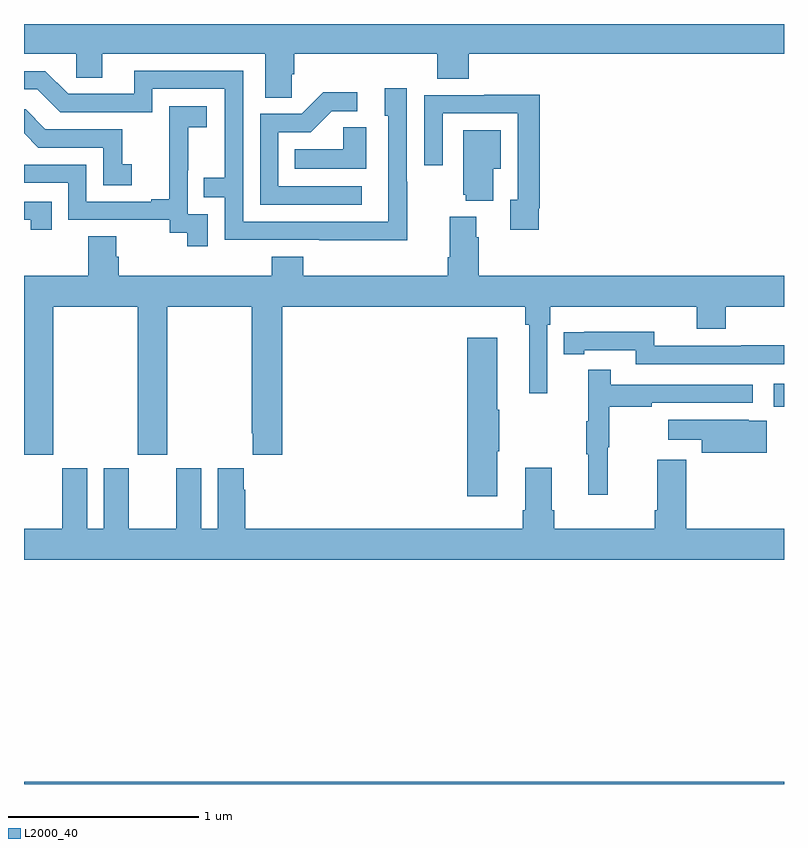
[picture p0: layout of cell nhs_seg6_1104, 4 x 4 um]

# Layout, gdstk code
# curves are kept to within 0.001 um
import gdstk
lib = gdstk.Library(unit=1e-6, precision=1e-09)
def R(c, l, rs):  # rectangles x0, y0, x1, y1
    for r in rs: c.add(gdstk.rectangle(r[:2], r[2:], *l))
def P(c, l, *ps):  # polygons
    for p in ps: c.add(gdstk.Polygon(p, *l))
L2000_40 = (2000, 40)

nhs_seg6_1104 = lib.new_cell('nhs_seg6_1104')
R(nhs_seg6_1104, L2000_40, [(179,935.5,183,935.512), (182.946,937.486,183,937.606)])
P(nhs_seg6_1104, L2000_40, [(180.408,939.235),(180.422,939.235),(180.422,939.344),(181.175,939.344),(181.175,939.211),(181.34,939.211),(181.34,939.344),(183,939.344),(183,939.5),(179,939.5),(179,939.344),(179.274,939.344),(179.274,939.217),(179.413,939.217),(179.413,939.344),(180.269,939.344),(180.269,939.112),(180.408,939.112)],
  [(181.017,938.669),(181.014,938.669),(181.014,939.163),(180.899,939.163),(180.899,939.018),(180.918,939.018),(180.918,938.46),(180.153,938.46),(180.153,939.255),(179.579,939.255),(179.579,939.132),(179.232,939.132),(179.112,939.252),(179,939.252),(179,939.156),(179.07,939.156),(179.19,939.036),(179.676,939.036),(179.676,939.159),(180.057,939.159),(180.057,938.69),(179.947,938.69),(179.947,938.589),(180.057,938.589),(180.057,938.364),(181.017,938.363)],
  [(180.778,938.646),(180.339,938.646),(180.339,938.931),(180.508,938.931),(180.619,939.042),(180.754,939.042),(180.754,939.14),(180.575,939.14),(180.462,939.027),(180.243,939.027),(180.243,938.55),(180.778,938.55)],
  [(181.708,938.53),(181.715,938.53),(181.715,939.128),(181.423,939.128),(181.423,939.126),(181.107,939.126),(181.107,938.757),(181.203,938.757),(181.203,939.03),(181.599,939.03),(181.599,938.574),(181.559,938.574),(181.559,938.418),(181.708,938.418)],
  [(179.967,938.499),(179.862,938.499),(179.862,938.729),(179.864,938.729),(179.864,938.957),(179.962,938.957),(179.962,939.067),(179.764,939.067),(179.764,938.861),(179.765,938.861),(179.765,938.578),(179.669,938.578),(179.669,938.565),(179.328,938.565),(179.328,938.76),(179,938.76),(179,938.664),(179.232,938.664),(179.232,938.469),(179.766,938.469),(179.766,938.401),(179.859,938.401),(179.859,938.331),(179.967,938.331)],
  [(179.566,938.761),(179.517,938.761),(179.517,938.946),(179.113,938.946),(179.008,939.051),(179,939.051),(179,938.926),(179.076,938.85),(179.418,938.85),(179.418,938.652),(179.566,938.652)],
  [(180.802,938.957),(180.681,938.957),(180.681,938.842),(180.424,938.842),(180.424,938.738),(180.802,938.738)],
  [(181.471,938.738),(181.51,938.738),(181.51,938.941),(181.313,938.941),(181.313,938.601),(181.325,938.601),(181.325,938.57),(181.471,938.57)],
  [(179.147,938.565),(179,938.565),(179,938.469),(179.036,938.469),(179.036,938.418),(179.147,938.418)],
  [(179.154,938.012),(179.599,938.012),(179.599,937.233),(179.754,937.233),(179.754,938.012),(180.199,938.012),(180.199,937.345),(180.203,937.345),(180.203,937.233),(180.359,937.233),(180.359,938.012),(181.639,938.012),(181.639,937.916),(181.658,937.916),(181.658,937.557),(181.755,937.557),(181.755,937.916),(181.769,937.916),(181.769,938.012),(182.54,938.012),(182.54,937.895),(182.693,937.895),(182.693,938.012),(183,938.012),(183,938.176),(181.394,938.176),(181.394,938.378),(181.381,938.378),(181.381,938.485),(181.241,938.485),(181.241,938.272),(181.229,938.272),(181.229,938.176),(180.47,938.176),(180.47,938.275),(180.305,938.275),(180.305,938.176),(179.498,938.176),(179.498,938.274),(179.485,938.274),(179.485,938.384),(179.338,938.384),(179.338,938.176),(179,938.176),(179,937.233),(179.154,937.233)],
  [(183,937.808),(182.776,937.808),(182.776,937.806),(182.316,937.806),(182.316,937.879),(181.948,937.879),(181.948,937.878),(181.84,937.878),(181.84,937.762),(181.948,937.762),(181.948,937.782),(182.22,937.782),(182.22,937.71),(183,937.71)],
  [(181.492,937.252),(181.5,937.252),(181.5,937.469),(181.492,937.469),(181.492,937.849),(181.334,937.849),(181.334,937.014),(181.492,937.014)],
  [(182.072,937.272),(182.08,937.272),(182.08,937.486),(182.303,937.486),(182.303,937.506),(182.836,937.506),(182.836,937.602),(182.087,937.602),(182.087,937.681),(181.97,937.681),(181.97,937.409),(181.959,937.409),(181.959,937.235),(181.97,937.235),(181.97,937.023),(182.072,937.023)],
  [(182.91,937.413),(182.814,937.413),(182.814,937.417),(182.391,937.417),(182.391,937.313),(182.567,937.313),(182.567,937.244),(182.91,937.244)],
  [(183,936.844),(182.486,936.844),(182.486,937.207),(182.333,937.207),(182.333,936.94),(182.321,936.94),(182.321,936.844),(181.79,936.844),(181.79,936.94),(181.777,936.94),(181.777,937.165),(181.637,937.165),(181.637,936.94),(181.625,936.94),(181.625,936.844),(180.164,936.844),(180.164,937.049),(180.157,937.049),(180.157,937.162),(180.02,937.162),(180.02,936.844),(179.932,936.844),(179.932,937.162),(179.801,937.162),(179.801,936.844),(179.551,936.844),(179.551,937.162),(179.42,937.162),(179.42,936.844),(179.332,936.844),(179.332,937.162),(179.201,937.162),(179.201,936.844),(179,936.844),(179,936.68),(183,936.68)])

lib.write_gds('nhs_seg6_1104.gds')
